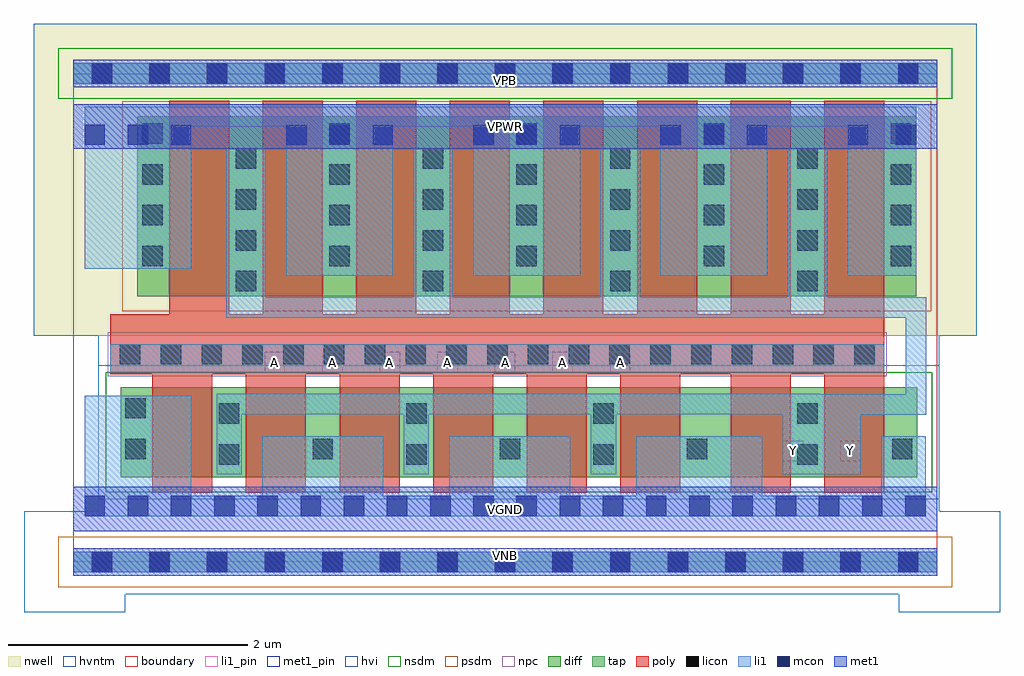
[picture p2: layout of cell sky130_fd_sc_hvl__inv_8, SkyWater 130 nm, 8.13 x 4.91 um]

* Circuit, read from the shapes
.subckt sky130_fd_sc_hvl__inv_8 A VGND VNB VPB VPWR Y
XM1 Y A VGND VNB sky130_fd_pr__nfet_g5v0d10v5 w=0.75 l=0.5 m=8
XM2 Y A VPWR VPB sky130_fd_pr__pfet_g5v0d10v5 w=1.5 l=0.5 m=8
.ends

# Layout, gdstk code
import gdstk
lib = gdstk.Library(unit=1e-6, precision=1e-09)
def R(c, l, rs):  # rectangles x0, y0, x1, y1
    for r in rs: c.add(gdstk.rectangle(r[:2], r[2:], *l))
def A(c, l, x, y, w, h, nx, ny, dx, dy):  # array of equal rectangles
    R(c, l, [(x+i*dx, y+j*dy, x+i*dx+w, y+j*dy+h) for i in range(nx) for j in range(ny)])
nwell = (64, 20)
diff = (65, 20)
tap = (65, 44)
poly = (66, 20)
licon = (66, 44)
li1_pin = (67, 16)
li1 = (67, 20)
mcon = (67, 44)
met1_pin = (68, 16)
met1 = (68, 20)
hvi = (75, 20)
nsdm = (93, 44)
psdm = (94, 20)
npc = (95, 20)
hvntm = (125, 20)
boundary = (235, 4)

sky130_fd_sc_hvl__inv_8 = lib.new_cell('sky130_fd_sc_hvl__inv_8')
R(sky130_fd_sc_hvl__inv_8, nwell, [(-0.33,1.885,7.53,4.485)])
R(sky130_fd_sc_hvl__inv_8, diff, [(0.395,0.705,7.035,1.455), (0.535,2.215,7.025,3.715)])
R(sky130_fd_sc_hvl__inv_8, tap, [(0,-0.085,7.2,0.085), (0,3.985,7.2,4.155)])
A(sky130_fd_sc_hvl__inv_8, poly, 0.66, 0.575, 0.5, 0.99, 6, 1, 0.78, 0)
A(sky130_fd_sc_hvl__inv_8, poly, 0.8, 2.065, 0.5, 1.78, 8, 1, 0.78, 0)
R(sky130_fd_sc_hvl__inv_8, poly, [(5.48,0.575,5.98,1.565), (6.26,0.575,6.76,1.565), (0.31,1.565,6.76,2.065)])
A(sky130_fd_sc_hvl__inv_8, licon, 0.155, -0.085, 0.17, 0.17, 15, 2, 0.48, 4.07)
A(sky130_fd_sc_hvl__inv_8, licon, 1.215, 0.81, 0.17, 0.17, 3, 2, 1.56, 0.34)
A(sky130_fd_sc_hvl__inv_8, licon, 0.435, 0.855, 0.17, 0.17, 4, 1, 1.56, 0)
A(sky130_fd_sc_hvl__inv_8, licon, 0.39, 1.645, 0.17, 0.17, 19, 1, 0.34, 0)
A(sky130_fd_sc_hvl__inv_8, licon, 1.355, 2.255, 0.17, 0.17, 4, 4, 1.56, 0.34)
A(sky130_fd_sc_hvl__inv_8, licon, 0.575, 2.465, 0.17, 0.17, 5, 4, 1.56, 0.34)
R(sky130_fd_sc_hvl__inv_8, licon, [(6.035,0.81,6.205,0.98), (6.825,0.855,6.995,1.025), (6.035,1.15,6.205,1.32), (0.435,1.195,0.605,1.365)])
A(sky130_fd_sc_hvl__inv_8, li1_pin, 1.595, 1.58, 0.17, 0.17, 7, 1, 0.48, 0)
R(sky130_fd_sc_hvl__inv_8, li1_pin, [(5.915,0.84,6.085,1.01), (6.395,0.84,6.565,1.01)])
A(sky130_fd_sc_hvl__inv_8, li1, 1.195, 0.73, 0.21, 0.5, 3, 1, 1.56, 0)
A(sky130_fd_sc_hvl__inv_8, li1, 1.275, 2.205, 0.33, 1.24, 4, 1, 1.56, 0)
A(sky130_fd_sc_hvl__inv_8, li1, 1.775, 2.385, 0.89, 1.24, 3, 1, 1.56, 0)
R(sky130_fd_sc_hvl__inv_8, li1, [(0,-0.085,7.2,0.085), (0.095,0.38,7.105,0.55), (0.095,0.55,0.985,1.385), (1.575,0.55,2.585,1.045), (3.135,0.55,4.145,1.045), (4.695,0.55,5.745,1.045), (6.735,0.55,7.105,1.045), (5.915,0.73,6.565,1.225), (5.915,1.225,7.11,1.23), (1.195,1.23,7.11,1.395), (1.195,1.395,6.225,1.4), (6.94,1.395,7.11,2.035), (0.31,1.58,6.76,1.815), (1.275,2.035,7.11,2.205), (6.455,2.385,7.025,3.625), (0.095,2.445,0.985,3.625), (0.095,3.625,7.025,3.795), (0,3.985,7.2,4.155)])
A(sky130_fd_sc_hvl__inv_8, mcon, 0.155, -0.085, 0.17, 0.17, 15, 2, 0.48, 4.07)
A(sky130_fd_sc_hvl__inv_8, mcon, 0.095, 0.38, 0.17, 0.17, 20, 1, 0.36, 0)
A(sky130_fd_sc_hvl__inv_8, mcon, 0.095, 3.475, 0.17, 0.17, 3, 1, 0.36, 0)
A(sky130_fd_sc_hvl__inv_8, mcon, 1.775, 3.475, 0.17, 0.17, 3, 1, 0.36, 0)
A(sky130_fd_sc_hvl__inv_8, mcon, 3.335, 3.475, 0.17, 0.17, 3, 1, 0.36, 0)
A(sky130_fd_sc_hvl__inv_8, mcon, 4.895, 3.475, 0.17, 0.17, 3, 1, 0.36, 0)
R(sky130_fd_sc_hvl__inv_8, mcon, [(6.455,3.475,6.625,3.645), (6.855,3.475,7.025,3.645)])
R(sky130_fd_sc_hvl__inv_8, met1_pin, [(0,0,7.2,0.115), (0,0.255,7.2,0.625), (0,3.445,7.2,3.815), (0,3.955,7.2,4.07)])
R(sky130_fd_sc_hvl__inv_8, met1, [(0,-0.115,7.2,0.115), (0,0.255,7.2,0.625), (0,3.445,7.2,3.815), (0,3.955,7.2,4.185)])
R(sky130_fd_sc_hvl__inv_8, hvi, [(-0.41,-0.42,0.435,-0.27), (6.88,-0.42,7.725,-0.27), (-0.41,-0.27,7.725,0.42), (0.21,0.42,7.22,1.885), (-0.33,1.885,7.53,4.485)])
R(sky130_fd_sc_hvl__inv_8, nsdm, [(0.27,0.58,7.16,1.58), (-0.125,3.86,7.325,4.28)])
R(sky130_fd_sc_hvl__inv_8, psdm, [(-0.125,-0.21,7.325,0.21), (0.41,2.09,7.15,3.84)])
R(sky130_fd_sc_hvl__inv_8, npc, [(0.29,1.545,6.78,1.915)])
R(sky130_fd_sc_hvl__inv_8, hvntm, [(0.21,0.52,7.22,1.64)])
R(sky130_fd_sc_hvl__inv_8, boundary, [(0,0,7.2,4.07)])
sky130_fd_sc_hvl__inv_8.add(gdstk.Label('VNB', (3.6,0.055), layer=68, texttype=5))
sky130_fd_sc_hvl__inv_8.add(gdstk.Label('VPB', (3.6,4.01), layer=68, texttype=5))
sky130_fd_sc_hvl__inv_8.add(gdstk.Label('VNB', (3.6,0.057), layer=68, texttype=5))
sky130_fd_sc_hvl__inv_8.add(gdstk.Label('VGND', (3.6,0.44), layer=68, texttype=5))
sky130_fd_sc_hvl__inv_8.add(gdstk.Label('VPWR', (3.6,3.63), layer=68, texttype=5))
sky130_fd_sc_hvl__inv_8.add(gdstk.Label('VPB', (3.6,4.012), layer=68, texttype=5))
sky130_fd_sc_hvl__inv_8.add(gdstk.Label('Y', (6,0.925), layer=67, texttype=5))
sky130_fd_sc_hvl__inv_8.add(gdstk.Label('Y', (6.48,0.925), layer=67, texttype=5))
sky130_fd_sc_hvl__inv_8.add(gdstk.Label('A', (1.68,1.665), layer=67, texttype=5))
sky130_fd_sc_hvl__inv_8.add(gdstk.Label('A', (2.16,1.665), layer=67, texttype=5))
sky130_fd_sc_hvl__inv_8.add(gdstk.Label('A', (2.64,1.665), layer=67, texttype=5))
sky130_fd_sc_hvl__inv_8.add(gdstk.Label('A', (3.12,1.665), layer=67, texttype=5))
sky130_fd_sc_hvl__inv_8.add(gdstk.Label('A', (3.6,1.665), layer=67, texttype=5))
sky130_fd_sc_hvl__inv_8.add(gdstk.Label('A', (4.08,1.665), layer=67, texttype=5))
sky130_fd_sc_hvl__inv_8.add(gdstk.Label('A', (4.56,1.665), layer=67, texttype=5))

lib.write_gds('sky130_fd_sc_hvl__inv_8.gds')
